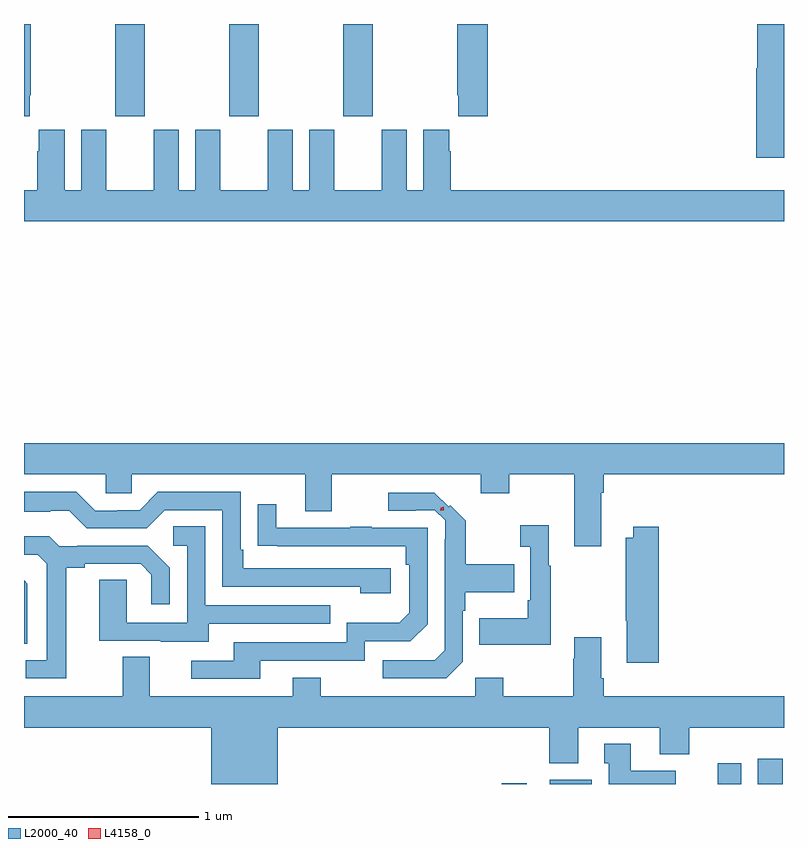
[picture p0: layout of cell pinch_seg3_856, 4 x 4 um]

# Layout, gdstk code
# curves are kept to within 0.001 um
import gdstk
lib = gdstk.Library(unit=1e-6, precision=1e-09)
def R(c, l, rs):  # rectangles x0, y0, x1, y1
    for r in rs: c.add(gdstk.rectangle(r[:2], r[2:], *l))
def A(c, l, x, y, w, h, nx, ny, dx, dy):  # array of equal rectangles
    R(c, l, [(x+i*dx, y+j*dy, x+i*dx+w, y+j*dy+h) for i in range(nx) for j in range(ny)])
def P(c, l, *ps):  # polygons
    for p in ps: c.add(gdstk.Polygon(p, *l))
L2000_40 = (2000, 40)
L4158_0 = (4158, 0)

pinch_seg3_856 = lib.new_cell('pinch_seg3_856')
A(pinch_seg3_856, L2000_40, 661.249, 670.833, 0.155, 0.486, 3, 1, 0.6, 0)
R(pinch_seg3_856, L2000_40, [(663.282,667.319,663.414,667.323), (663.534,667.319,663.757,667.342), (664.418,667.319,664.543,667.429), (664.631,667.319,664.762,667.453)])
P(pinch_seg3_856, L2000_40, [(663.209,671.319),(663.049,671.319),(663.049,670.945),(663.053,670.945),(663.053,670.833),(663.209,670.833)],
  [(664.768,671.319),(664.628,671.319),(664.628,671.085),(664.622,671.085),(664.622,670.614),(664.768,670.614)],
  [(660.799,670.945),(660.804,670.945),(660.804,671.319),(660.768,671.319),(660.768,670.833),(660.799,670.833)],
  [(664.768,670.444),(663.014,670.444),(663.014,670.649),(663.007,670.649),(663.007,670.762),(662.87,670.762),(662.87,670.444),(662.782,670.444),(662.782,670.762),(662.651,670.762),(662.651,670.444),(662.401,670.444),(662.401,670.762),(662.27,670.762),(662.27,670.444),(662.182,670.444),(662.182,670.762),(662.051,670.762),(662.051,670.444),(661.801,670.444),(661.801,670.762),(661.67,670.762),(661.67,670.444),(661.582,670.444),(661.582,670.762),(661.451,670.762),(661.451,670.444),(661.201,670.444),(661.201,670.762),(661.07,670.762),(661.07,670.444),(660.982,670.444),(660.982,670.762),(660.845,670.762),(660.845,670.649),(660.839,670.649),(660.839,670.444),(660.768,670.444),(660.768,670.28),(664.768,670.28)],
  [(663.805,668.852),(663.818,668.852),(663.818,668.948),(664.768,668.948),(664.768,669.112),(660.768,669.112),(660.768,668.948),(661.197,668.948),(661.197,668.85),(661.335,668.85),(661.335,668.948),(662.249,668.948),(662.249,668.754),(662.389,668.754),(662.389,668.948),(663.173,668.948),(663.173,668.849),(663.321,668.849),(663.321,668.948),(663.665,668.948),(663.665,668.571),(663.805,668.571)],
  [(662.698,668.454),(661.921,668.454),(661.921,668.551),(661.908,668.551),(661.908,668.856),(661.473,668.856),(661.377,668.76),(661.259,668.76),(661.259,668.757),(661.143,668.757),(661.043,668.857),(660.768,668.857),(660.768,668.753),(660.905,668.753),(660.905,668.757),(661.005,668.757),(661.098,668.664),(661.413,668.664),(661.509,668.76),(661.812,668.76),(661.812,668.358),(662.537,668.358),(662.537,668.324),(662.698,668.324)],
  [(663.078,667.962),(663.078,668.231),(663.091,668.231),(663.091,668.327),(663.347,668.327),(663.347,668.475),(663.093,668.475),(663.093,668.705),(663.012,668.787),(663.003,668.778),(662.927,668.853),(662.685,668.853),(662.685,668.757),(662.83,668.757),(662.83,668.76),(662.931,668.76),(662.985,668.706),(662.985,668.606),(662.982,668.606),(662.982,668.022),(662.931,667.971),(662.655,667.971),(662.655,667.875),(662.991,667.875)],
  [(662.011,667.968),(662.562,667.968),(662.562,668.07),(662.802,668.07),(662.892,668.16),(662.892,668.667),(662.597,668.667),(662.597,668.672),(662.485,668.672),(662.485,668.667),(662.095,668.667),(662.095,668.791),(661.999,668.791),(661.999,668.572),(662.776,668.571),(662.776,668.474),(662.796,668.474),(662.796,668.22),(662.743,668.167),(662.466,668.167),(662.466,668.064),(661.871,668.064),(661.871,667.968),(661.647,667.968),(661.647,667.872),(662.011,667.872)],
  [(663.541,668.467),(663.529,668.467),(663.529,668.68),(663.381,668.68),(663.381,668.567),(663.432,668.567),(663.432,668.287),(663.42,668.287),(663.42,668.191),(663.163,668.191),(663.163,668.051),(663.541,668.051)],
  [(661.741,668.163),(662.381,668.163),(662.381,668.259),(661.722,668.259),(661.722,668.675),(661.554,668.675),(661.554,668.574),(661.626,668.574),(661.626,668.169),(661.308,668.169),(661.308,668.393),(661.163,668.393),(661.163,668.073),(661.487,668.073),(661.487,668.069),(661.741,668.069)],
  [(664.109,668.674),(663.974,668.674),(663.974,668.614),(663.934,668.614),(663.934,668.179),(663.941,668.179),(663.941,667.956),(664.109,667.956)],
  [(660.991,668.456),(661.087,668.456),(661.087,668.478),(661.382,668.478),(661.439,668.421),(661.439,668.265),(661.536,668.265),(661.536,668.458),(661.42,668.574),(661.048,668.574),(661.048,668.571),(660.954,668.571),(660.902,668.623),(660.768,668.623),(660.768,668.526),(660.84,668.526),(660.887,668.479),(660.887,667.971),(660.777,667.971),(660.777,667.875),(660.991,667.875)],
  [(660.786,668.374),(660.768,668.392),(660.768,668.056),(660.786,668.056)],
  [(662.104,667.616),(663.533,667.616),(663.533,667.427),(663.685,667.427),(663.685,667.616),(664.115,667.616),(664.115,667.475),(664.268,667.475),(664.268,667.616),(664.768,667.616),(664.768,667.78),(663.818,667.78),(663.818,667.876),(663.805,667.876),(663.805,668.092),(663.665,668.092),(663.665,667.979),(663.658,667.979),(663.658,667.78),(663.291,667.78),(663.291,667.879),(663.144,667.879),(663.144,667.78),(662.331,667.78),(662.331,667.879),(662.183,667.879),(662.183,667.78),(661.429,667.78),(661.429,667.988),(661.289,667.988),(661.289,667.78),(660.768,667.78),(660.768,667.616),(661.754,667.616),(661.754,667.319),(662.104,667.319)],
  [(664.197,667.39),(663.961,667.39),(663.961,667.531),(663.821,667.531),(663.821,667.428),(663.845,667.428),(663.845,667.319),(664.197,667.319)])
P(pinch_seg3_856, L4158_0, [(662.96,668.756),(662.96,668.756),(662.961,668.773),(662.977,668.777),(662.977,668.777),(662.977,668.777),(662.976,668.76),(662.96,668.756)])

lib.write_gds('pinch_seg3_856.gds')
